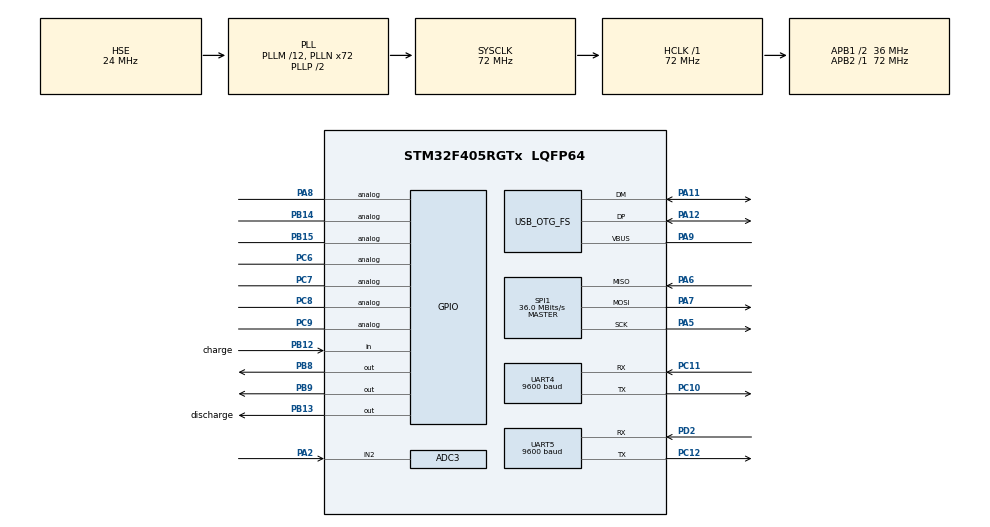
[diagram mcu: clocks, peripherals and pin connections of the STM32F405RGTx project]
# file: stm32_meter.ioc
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ADC3.Channel-4\#ChannelRegularConversion=ADC_CHANNEL_2
ADC3.ClockPrescaler=ADC_CLOCK_SYNC_PCLK_DIV4
ADC3.ContinuousConvMode=ENABLE
ADC3.DMAContinuousRequests=ENABLE
ADC3.DataAlign=ADC_DATAALIGN_RIGHT
ADC3.DiscontinuousConvMode=DISABLE
ADC3.EOCSelection=ADC_EOC_SINGLE_CONV
ADC3.EnableAnalogWatchDog=false
ADC3.ExternalTrigConv=ADC_SOFTWARE_START
ADC3.ExternalTrigConvEdge=ADC_EXTERNALTRIGCONVEDGE_NONE
ADC3.InjNumberOfConversion=0
ADC3.NbrOfConversion=1
ADC3.NbrOfConversionFlag=1
ADC3.Rank-4\#ChannelRegularConversion=1
ADC3.Resolution=ADC_RESOLUTION_10B
ADC3.SamplingTime-4\#ChannelRegularConversion=ADC_SAMPLETIME_3CYCLES
ADC3.ScanConvMode=DISABLE
Dma.ADC3.0.Direction=DMA_PERIPH_TO_MEMORY
Dma.ADC3.0.FIFOMode=DMA_FIFOMODE_ENABLE
Dma.ADC3.0.FIFOThreshold=DMA_FIFO_THRESHOLD_FULL
Dma.ADC3.0.Instance=DMA2_Stream0
Dma.ADC3.0.MemBurst=DMA_MBURST_SINGLE
Dma.ADC3.0.MemDataAlignment=DMA_MDATAALIGN_WORD
Dma.ADC3.0.MemInc=DMA_MINC_ENABLE
Dma.ADC3.0.Mode=DMA_CIRCULAR
Dma.ADC3.0.PeriphBurst=DMA_PBURST_SINGLE
Dma.ADC3.0.PeriphDataAlignment=DMA_PDATAALIGN_HALFWORD
Dma.ADC3.0.PeriphInc=DMA_PINC_DISABLE
Dma.ADC3.0.Priority=DMA_PRIORITY_LOW
Dma.Request0=ADC3
Mcu.Family=STM32F4
Mcu.Name=STM32F405RGTx
Mcu.Package=LQFP64
NVIC.DMA2_Stream0_IRQn=true\:0\:0\:false\:false\:true
NVIC.OTG_FS_IRQn=true\:0\:0\:false\:false\:true
NVIC.PriorityGroup=NVIC_PRIORITYGROUP_4
NVIC.TIM3_IRQn=true\:0\:0\:false\:false\:true
NVIC.UART4_IRQn=true\:0\:0\:false\:false\:true
NVIC.UART5_IRQn=true\:0\:0\:false\:false\:true
PA11.Mode=Device_Only
PA11.Signal=USB_OTG_FS_DM
PA12.Mode=Device_Only
PA12.Signal=USB_OTG_FS_DP
PA13.Mode=Serial_Wire
PA13.Signal=SYS_JTMS-SWDIO
PA14.Mode=Serial_Wire
PA14.Signal=SYS_JTCK-SWCLK
PA2.Signal=ADCx_IN2
PA4.Signal=SPI1_NSS
PA5.GPIO_Mode=GPIO_MODE_AF_PP
PA5.GPIO_PuPd=GPIO_NOPULL
PA5.GPIO_Speed=GPIO_SPEED_FREQ_VERY_HIGH
PA5.Mode=Full_Duplex_Master
PA5.Signal=SPI1_SCK
PA6.GPIO_Mode=GPIO_MODE_AF_PP
PA6.GPIO_PuPd=GPIO_NOPULL
PA6.GPIO_Speed=GPIO_SPEED_FREQ_VERY_HIGH
PA6.Mode=Full_Duplex_Master
PA6.Signal=SPI1_MISO
PA7.GPIO_Mode=GPIO_MODE_AF_PP
PA7.GPIO_PuPd=GPIO_NOPULL
PA7.GPIO_Speed=GPIO_SPEED_FREQ_VERY_HIGH
PA7.Mode=Full_Duplex_Master
PA7.Signal=SPI1_MOSI
PA8.Signal=GPIO_Analog
PA9.Mode=Activate_VBUS
PA9.Signal=USB_OTG_FS_VBUS
PB10.Signal=USART3_TX
PB11.Signal=USART3_RX
PB12.GPIO_Label=charge
PB12.GPIO_Mode=GPIO_MODE_INPUT
PB12.GPIO_PuPd=GPIO_NOPULL
PB12.Signal=GPIO_Input
PB13.GPIO_Label=discharge
PB13.GPIO_ModeDefaultOutputPP=GPIO_MODE_OUTPUT_PP
PB13.GPIO_PuPd=GPIO_NOPULL
PB13.GPIO_Speed=GPIO_SPEED_FREQ_LOW
PB13.PinState=GPIO_PIN_RESET
PB13.Signal=GPIO_Output
PB14.Signal=GPIO_Analog
PB15.Signal=GPIO_Analog
PB8.GPIO_ModeDefaultOutputPP=GPIO_MODE_OUTPUT_PP
PB8.GPIO_PuPd=GPIO_NOPULL
PB8.GPIO_Speed=GPIO_SPEED_FREQ_LOW
PB8.PinState=GPIO_PIN_RESET
PB8.Signal=GPIO_Output
PB9.GPIO_ModeDefaultOutputPP=GPIO_MODE_OUTPUT_PP
PB9.GPIO_PuPd=GPIO_NOPULL
PB9.GPIO_Speed=GPIO_SPEED_FREQ_LOW
PB9.PinState=GPIO_PIN_RESET
PB9.Signal=GPIO_Output
PC10.Mode=Asynchronous
PC10.Signal=UART4_TX
PC11.Mode=Asynchronous
PC11.Signal=UART4_RX
PC12.Mode=Asynchronous
PC12.Signal=UART5_TX
PC6.Signal=GPIO_Analog
PC7.Signal=GPIO_Analog
PC8.Signal=GPIO_Analog
PC9.Signal=GPIO_Analog
PD2.Mode=Asynchronous
PD2.Signal=UART5_RX
PH0-OSC_IN.Mode=HSE-External-Oscillator
PH0-OSC_IN.Signal=RCC_OSC_IN
PH1-OSC_OUT.Mode=HSE-External-Oscillator
PH1-OSC_OUT.Signal=RCC_OSC_OUT
ProjectManager.HeapSize=0x2000
ProjectManager.StackSize=0x4000
ProjectManager.TargetToolchain=MDK-ARM V5
RCC.48MHZClocksFreq_Value=48000000
RCC.AHBFreq_Value=72000000
RCC.APB1CLKDivider=RCC_HCLK_DIV2
RCC.APB1Freq_Value=36000000
RCC.APB1TimFreq_Value=72000000
RCC.APB2Freq_Value=72000000
RCC.APB2TimFreq_Value=72000000
RCC.CortexFreq_Value=72000000
RCC.HCLKFreq_Value=72000000
RCC.HSE_VALUE=24000000
RCC.HSI_VALUE=16000000
RCC.LSE_VALUE=32768
RCC.PLLM=12
RCC.PLLN=72
RCC.PLLQ=3
RCC.SYSCLKFreq_VALUE=72000000
RCC.SYSCLKSource=RCC_SYSCLKSOURCE_PLLCLK
RCC.VCOOutputFreq_Value=144000000
SH.ADCx_IN2.0=ADC3_IN2,IN2
SPI1.CalculateBaudRate=36.0 MBits/s
SPI1.Direction=SPI_DIRECTION_2LINES
SPI1.Mode=SPI_MODE_MASTER
SPI1.VirtualType=VM_MASTER
TIM3.Period=999
TIM3.Prescaler=23999
TIM5.Period=4294967294
TIM5.Prescaler=0
UART4.BaudRate=9600
UART4.VirtualMode=Asynchronous
UART5.BaudRate=9600
UART5.Mode=MODE_RX
UART5.VirtualMode=Asynchronous
USB_DEVICE.CLASS_NAME_FS=CDC
USB_DEVICE.VirtualModeFS=Cdc_FS
USB_OTG_FS.VirtualMode=Device_Only
VP_TIM3_VS_ClockSourceINT.Mode=Internal
VP_TIM5_VS_ClockSourceINT.Mode=Internal
VP_USB_DEVICE_VS_USB_DEVICE_CDC_FS.Mode=CDC_FS
board=stm32_meter

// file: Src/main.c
/**
  ******************************************************************************
  * File Name          : main.c
  * Description        : Main program body
  ******************************************************************************
  * This notice applies to any and all portions of this file
  * that are not between comment pairs USER CODE BEGIN and
  * USER CODE END. Other portions of this file, whether
  * inserted by the user or by software development tools
  * are owned by their respective copyright owners.
  *
  * Copyright (c) 2018 STMicroelectronics International N.V.
  * All rights reserved.
  *
  * Redistribution and use in source and binary forms, with or without
  * modification, are permitted, provided that the following conditions are met:
  *
  * 1. Redistribution of source code must retain the above copyright notice,
  *    this list of conditions and the following disclaimer.
  * 2. Redistributions in binary form must reproduce the above copyright notice,
  *    this list of conditions and the following disclaimer in the documentation
  *    and/or other materials provided with the distribution.
  * 3. Neither the name of STMicroelectronics nor the names of other
  *    contributors to this software may be used to endorse or promote products
  *    derived from this software without specific written permission.
  * 4. This software, including modifications and/or derivative works of this
  *    software, must execute solely and exclusively on microcontroller or
  *    microprocessor devices manufactured by or for STMicroelectronics.
  * 5. Redistribution and use of this software other than as permitted under
  *    this license is void and will automatically terminate your rights under
  *    this license.
  *
  * THIS SOFTWARE IS PROVIDED BY STMICROELECTRONICS AND CONTRIBUTORS "AS IS"
  * AND ANY EXPRESS, IMPLIED OR STATUTORY WARRANTIES, INCLUDING, BUT NOT
  * LIMITED TO, THE IMPLIED WARRANTIES OF MERCHANTABILITY, FITNESS FOR A
  * PARTICULAR PURPOSE AND NON-INFRINGEMENT OF THIRD PARTY INTELLECTUAL PROPERTY
  * RIGHTS ARE DISCLAIMED TO THE FULLEST EXTENT PERMITTED BY LAW. IN NO EVENT
  * SHALL STMICROELECTRONICS OR CONTRIBUTORS BE LIABLE FOR ANY DIRECT, INDIRECT,
  * INCIDENTAL, SPECIAL, EXEMPLARY, OR CONSEQUENTIAL DAMAGES (INCLUDING, BUT NOT
  * LIMITED TO, PROCUREMENT OF SUBSTITUTE GOODS OR SERVICES; LOSS OF USE, DATA,
  * OR PROFITS; OR BUSINESS INTERRUPTION) HOWEVER CAUSED AND ON ANY THEORY OF
  * LIABILITY, WHETHER IN CONTRACT, STRICT LIABILITY, OR TORT (INCLUDING
  * NEGLIGENCE OR OTHERWISE) ARISING IN ANY WAY OUT OF THE USE OF THIS SOFTWARE,
  * EVEN IF ADVISED OF THE POSSIBILITY OF SUCH DAMAGE.
  *
  ******************************************************************************
  */
#include "main.h"
#include "stm32f4xx_hal.h"
#include "adc.h"
#include "dma.h"
#include "spi.h"
#include "tim.h"
#include "usart.h"
#include "usb_device.h"
#include "gpio.h"

/* USER CODE BEGIN Includes */
#ifndef __vars
#define __vars
#include "usbd_cdc_if.h"
#include "defs.h"
#include "meter.h"
#include "transceiver.h"
int
LEDS = GPIO_PIN_8|GPIO_PIN_9,
LED0 = GPIO_PIN_8,
LED1 = GPIO_PIN_9;
uint32_t ADCres;
float capacity;
volatile uint32_t ADCDATA[15];

	float f = 1000;
char buf1[13];
char USART_chars_buffer[13]; uint16_t uscnt;
volatile uint8_t USART5newData;
#endif
/* USER CODE END Includes */

/* USER CODE BEGIN PV */
/* Private variables ---------------------------------------------------------*/

/* USER CODE END PV */

void SystemClock_Config(void);

/* USER CODE BEGIN PFP */
/* Private function prototypes -----------------------------------------------*/

/* USER CODE END PFP */

int main(void)
{

  /* MCU Configuration----------------------------------------------------------*/

  /* Reset of all peripherals, Initializes the Flash interface and the Systick. */
  HAL_Init();

  /* Configure the system clock */
  SystemClock_Config();

  /* Initialize all configured peripherals */
  MX_GPIO_Init();
  MX_DMA_Init();
  MX_ADC3_Init();
  MX_SPI1_Init();
  MX_TIM3_Init();
  MX_UART5_Init();
  MX_UART4_Init();
  MX_USB_DEVICE_Init();
  MX_TIM5_Init();

  /* USER CODE BEGIN 2 */
	//HAL_TIM_Base_Start_IT(&htim3);   //Preryvanie po taymery
 	HAL_GPIO_WritePin(GPIOB, LED0, GPIO_PIN_SET);
	HAL_GPIO_WritePin(GPIOB, LED1, GPIO_PIN_RESET);
	meter_setup();  transceiver_setup();

	HAL_UART_Receive_IT(&huart5,(uint8_t*)us5.receiveBufferUART5HAL,1);

	//HAL_TIM_Base_Start_DMA(&htim5, (uint32_t*) ADCDATA, 4);
	//HAL_TIM_Base_Start(&htim5);
	//HAL_ADC_Start(&hadc3);
  /* USER CODE END 2 */

  /* Infinite loop */
  /* USER CODE BEGIN WHILE */
  while (1)
  {

	//capacity =0;

	HAL_Delay(1000);

	capacity = GetCapacity2();

	snprintf(buf1, 10, "%f", capacity);  // float to char.
	for (uscnt = 0; uscnt < sizeof(buf1); uscnt++)   //not brilliant realization) Counting num of chars symbols after conversion from float to char[].
		{
	if (buf1[uscnt] == 0x00) { break; }
		}

     HAL_Delay(500);

		sendcharUART((uint8_t *)buf1,uscnt);
		//recieverUART();

	//capacity = GetCapacity() ;
	//capacity = GetCapacity2()

//	HAL_ADC_Start_DMA(&hadc3, (uint32_t*) ADCDATA, 1);

	//while(1) {
	//	HAL_Delay(10);
	//	ADCDATA[1]= HAL_ADC_GetValue(&hadc3);
//}

  /* USER CODE END WHILE */

  }

}

/** System Clock Configuration
*/
void SystemClock_Config(void)
{

  RCC_OscInitTypeDef RCC_OscInitStruct;
  RCC_ClkInitTypeDef RCC_ClkInitStruct;

    /**Configure the main internal regulator output voltage
    */
  __HAL_RCC_PWR_CLK_ENABLE();

  __HAL_PWR_VOLTAGESCALING_CONFIG(PWR_REGULATOR_VOLTAGE_SCALE1);

    /**Initializes the CPU, AHB and APB busses clocks
    */
  RCC_OscInitStruct.OscillatorType = RCC_OSCILLATORTYPE_HSE;
  RCC_OscInitStruct.HSEState = RCC_HSE_ON;
  RCC_OscInitStruct.PLL.PLLState = RCC_PLL_ON;
  RCC_OscInitStruct.PLL.PLLSource = RCC_PLLSOURCE_HSE;
  RCC_OscInitStruct.PLL.PLLM = 12;
  RCC_OscInitStruct.PLL.PLLN = 72;
  RCC_OscInitStruct.PLL.PLLP = RCC_PLLP_DIV2;
  RCC_OscInitStruct.PLL.PLLQ = 3;
  if (HAL_RCC_OscConfig(&RCC_OscInitStruct) != HAL_OK)
  {
    _Error_Handler(__FILE__, __LINE__);
  }

    /**Initializes the CPU, AHB and APB busses clocks
    */
  RCC_ClkInitStruct.ClockType = RCC_CLOCKTYPE_HCLK|RCC_CLOCKTYPE_SYSCLK
                              |RCC_CLOCKTYPE_PCLK1|RCC_CLOCKTYPE_PCLK2;
  RCC_ClkInitStruct.SYSCLKSource = RCC_SYSCLKSOURCE_PLLCLK;
  RCC_ClkInitStruct.AHBCLKDivider = RCC_SYSCLK_DIV1;
  RCC_ClkInitStruct.APB1CLKDivider = RCC_HCLK_DIV2;
  RCC_ClkInitStruct.APB2CLKDivider = RCC_HCLK_DIV1;

  if (HAL_RCC_ClockConfig(&RCC_ClkInitStruct, FLASH_LATENCY_2) != HAL_OK)
  {
    _Error_Handler(__FILE__, __LINE__);
  }

    /**Configure the Systick interrupt time
    */
  HAL_SYSTICK_Config(HAL_RCC_GetHCLKFreq()/1000);

    /**Configure the Systick
    */
  HAL_SYSTICK_CLKSourceConfig(SYSTICK_CLKSOURCE_HCLK);

  /* SysTick_IRQn interrupt configuration */
  HAL_NVIC_SetPriority(SysTick_IRQn, 0, 0);
}

void _Error_Handler(char * file, int line)
{
  while(1)
  {
  }
}

/************************ (C) COPYRIGHT STMicroelectronics *****END OF FILE****/
